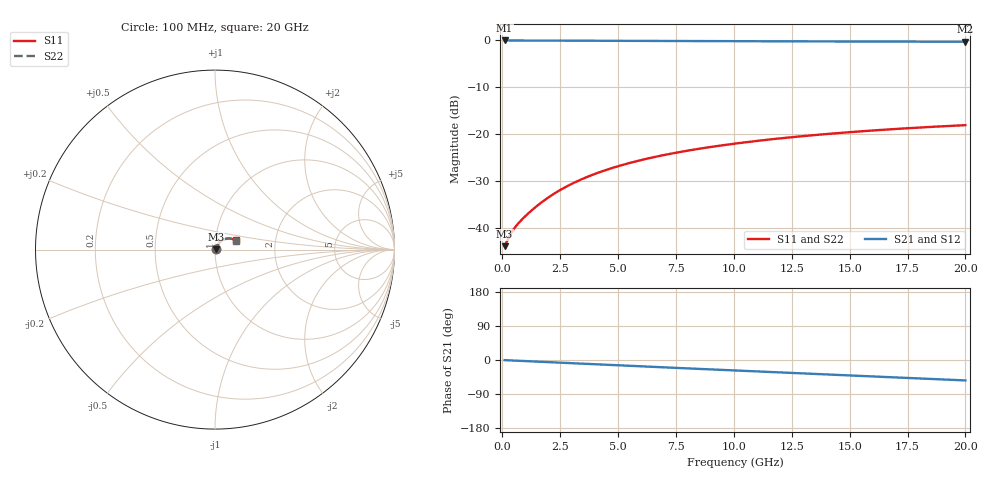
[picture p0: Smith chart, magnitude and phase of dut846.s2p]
! Touchstone file exported from HFSS 2026.1.0
!  File:  C:/ffzhzh/LocalFiles/Ansys_Project_Files/temp_train_TMRDL_846_1783156887_18472.aedt
!  Generated:  05:23:00 PM Jul  4, 2026
!  Design:  TMRDL
!  Project:  temp_train_TMRDL_846_1783156887_18472
! Variables:
!  h_bsmrdl = 2um
!  h_ox = 20um
!  h_rdl = 5um
!  h_sub = 80um
!  h_tmrdl = 4.19um
!  h_tsv = 80um
!  h_via = 3um
!  l_bsmrdl = 300um
!  l_sub = 1381.4um
!  l_tmrdl = 981.4um
!  m_sub = 200um
!  pitch = 18.74um
!  r_tsv = 6um
!  s_tmrdl = 10um
!  w_bsmrdl = 18um
!  w_sub = 500um
!  w_tmrdl = 13.43um
!  x_tsv_center1 = 988.115um
!  x_tsv_center2 = 1306.115um
!  x_tsv_center3 = 2300.945um
!  x_tsv_center4 = 2618.945um
!  x_tsv_center5 = 3613.775um
!  x_tsv_center6 = 3931.775um
# GHz S MA R 50.000000
! Terminal data exported
! Port[1] = TM_RDL1_1_T1
! Port[2] = TM_RDL1_1_T2
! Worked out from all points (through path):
!   200 points, 100 MHz to 20 GHz, reference 50 ohm
!   highest |S21| = -0.05 dB at 100 MHz (marker M1); lowest = -0.3 dB at 20 GHz (marker M2)
!   group delay of S21, straight-line fit = 7.45 ps
!   lowest |S11| = -43.8 dB at 100 MHz (marker M3), VSWR 1.01, Z = 50.6 + j0.155 ohm
!   |S11| at or under -10 dB: start of sweep to end of sweep
!   |S22| runs from -43.8 to -18.1 dB; largest |S21 - S12| = 6e-15
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0.1  0.006472 13.7  0.9937 -0.3  0.9937 -0.3  0.006472 13.7
! Gamma 0 0 0 0
! Port Impedance 50 0 50 0
0.3  0.008199 29.3  0.9929 -0.9  0.9929 -0.9  0.008199 29.3
0.4  0.009075 33.3  0.9925 -1.2  0.9925 -1.2  0.009075 33.3
0.5  0.00988 36.3  0.9922 -1.5  0.9922 -1.5  0.00988 36.3
0.6  0.01063 38.8  0.9919 -1.8  0.9919 -1.8  0.01063 38.8
0.8  0.01208 43.2  0.9915 -2.3  0.9915 -2.3  0.01208 43.2
1  0.01353 46.9  0.9912 -2.9  0.9912 -2.9  0.01353 46.9
1.3  0.01579 51.2  0.9909 -3.7  0.9909 -3.7  0.01579 51.2
1.8  0.01977 55.9  0.9903 -5.1  0.9903 -5.1  0.01977 55.9
2.3  0.0239 58.4  0.9896 -6.5  0.9896 -6.5  0.0239 58.4
2.9  0.02891 59.7  0.9887 -8.2  0.9887 -8.2  0.02892 59.7
3.5  0.03389 59.9  0.9878 -9.9  0.9878 -9.9  0.03389 59.9
4.2  0.03956 59.4  0.9865 -11.8  0.9865 -11.8  0.03956 59.4
5  0.04581 58.2  0.985 -14.0  0.985 -14.0  0.04582 58.2
5.9  0.05254 56.5  0.9832 -16.5  0.9832 -16.5  0.05255 56.5
6.8  0.05894 54.6  0.9814 -18.9  0.9814 -18.9  0.05894 54.6
8.3  0.06892 51.2  0.9786 -22.9  0.9786 -22.9  0.06893 51.2
10.1  0.07991 47.1  0.9755 -27.8  0.9755 -27.8  0.07993 47.0
11.7  0.08889 43.4  0.9729 -32.0  0.9729 -32.0  0.08891 43.3
13.4  0.0977 39.4  0.9704 -36.5  0.9704 -36.5  0.09773 39.4
16.7  0.1127 31.7  0.9661 -45.2  0.9661 -45.2  0.1128 31.6
20  0.125 24.0  0.9624 -53.9  0.9624 -53.9  0.1251 23.8
